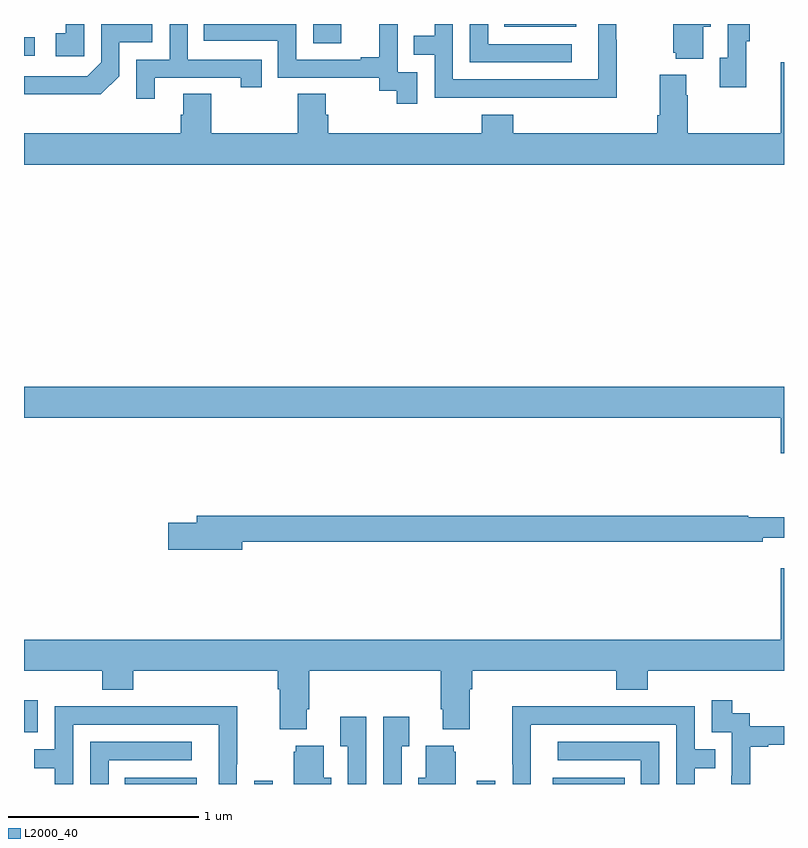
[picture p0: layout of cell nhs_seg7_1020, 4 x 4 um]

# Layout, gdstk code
import gdstk
lib = gdstk.Library(unit=1e-6, precision=1e-09)
def R(c, l, rs):  # rectangles x0, y0, x1, y1
    for r in rs: c.add(gdstk.rectangle(r[:2], r[2:], *l))
def P(c, l, *ps):  # polygons
    for p in ps: c.add(gdstk.Polygon(p, *l))
L2000_40 = (2000, 40)

nhs_seg7_1020 = lib.new_cell('nhs_seg7_1020')
R(nhs_seg7_1020, L2000_40, [(185.53,1020,185.908,1020.034), (186.213,1020,186.309,1020.016), (187.383,1020,187.479,1020.016), (187.784,1020,188.162,1020.034), (185,1020.273,185.073,1020.442), (185,1023.834,185.056,1023.93), (186.522,1023.9,186.67,1024), (187.528,1023.986,187.906,1024)])
P(nhs_seg7_1020, L2000_40, [(188.575,1023.986),(188.614,1023.986),(188.614,1024),(188.417,1024),(188.417,1023.849),(188.429,1023.849),(188.429,1023.818),(188.575,1023.818)],
  [(187.882,1023.894),(187.443,1023.894),(187.443,1024),(187.347,1024),(187.347,1023.798),(187.882,1023.798)],
  [(185.502,1023.726),(185.502,1023.903),(185.676,1023.903),(185.676,1024),(185.579,1024),(185.579,1023.999),(185.406,1023.999),(185.406,1023.798),(185.334,1023.726),(185,1023.726),(185,1023.629),(185.404,1023.629)],
  [(185.316,1024),(185.219,1024),(185.219,1023.951),(185.166,1023.951),(185.166,1023.831),(185.316,1023.831)],
  [(188.121,1023.917),(188.118,1023.917),(188.118,1024),(188.022,1024),(188.022,1023.708),(187.257,1023.708),(187.257,1024),(187.161,1024),(187.161,1023.938),(187.051,1023.938),(187.051,1023.837),(187.161,1023.837),(187.161,1023.612),(187.657,1023.612),(187.657,1023.611),(188.121,1023.611)],
  [(185.689,1023.717),(186.14,1023.717),(186.14,1023.666),(186.251,1023.666),(186.251,1023.813),(185.862,1023.813),(185.862,1024),(185.766,1024),(185.766,1023.813),(185.592,1023.813),(185.592,1023.606),(185.689,1023.606)],
  [(187.071,1023.747),(186.966,1023.747),(186.966,1023.977),(186.968,1023.977),(186.968,1024),(186.869,1024),(186.869,1023.826),(186.773,1023.826),(186.773,1023.813),(186.432,1023.813),(186.432,1024),(185.947,1024),(185.947,1023.912),(186.336,1023.912),(186.336,1023.717),(186.87,1023.717),(186.87,1023.649),(186.963,1023.649),(186.963,1023.579),(187.071,1023.579)],
  [(188.801,1023.91),(188.819,1023.91),(188.819,1024),(188.703,1024),(188.703,1023.822),(188.663,1023.822),(188.663,1023.666),(188.801,1023.666)],
  [(189,1023.799),(188.984,1023.799),(188.984,1023.424),(188.493,1023.424),(188.493,1023.626),(188.485,1023.626),(188.485,1023.733),(188.345,1023.733),(188.345,1023.52),(188.333,1023.52),(188.333,1023.424),(187.574,1023.424),(187.574,1023.523),(187.409,1023.523),(187.409,1023.424),(186.602,1023.424),(186.602,1023.522),(186.589,1023.522),(186.589,1023.632),(186.442,1023.632),(186.442,1023.424),(185.985,1023.424),(185.985,1023.632),(185.837,1023.632),(185.837,1023.522),(185.825,1023.522),(185.825,1023.424),(185,1023.424),(185,1023.26),(189,1023.26)],
  [(189,1022.092),(185,1022.092),(185,1021.928),(188.984,1021.928),(188.984,1021.74),(189,1021.74)],
  [(186.148,1021.276),(188.888,1021.276),(188.888,1021.295),(189,1021.295),(189,1021.405),(188.813,1021.405),(188.813,1021.412),(185.909,1021.412),(185.909,1021.376),(185.76,1021.376),(185.76,1021.234),(186.148,1021.234)],
  [(186.487,1020.394),(186.5,1020.394),(186.5,1020.596),(187.193,1020.596),(187.193,1020.394),(187.205,1020.394),(187.205,1020.287),(187.345,1020.287),(187.345,1020.5),(187.358,1020.5),(187.358,1020.596),(188.117,1020.596),(188.117,1020.497),(188.282,1020.497),(188.282,1020.596),(189,1020.596),(189,1021.135),(188.984,1021.135),(188.984,1020.76),(185,1020.76),(185,1020.596),(185.411,1020.596),(185.411,1020.497),(185.576,1020.497),(185.576,1020.596),(186.335,1020.596),(186.335,1020.5),(186.347,1020.5),(186.347,1020.287),(186.487,1020.287)],
  [(188.822,1020.195),(188.917,1020.195),(188.917,1020.207),(189,1020.207),(189,1020.303),(188.82,1020.303),(188.82,1020.372),(188.728,1020.372),(188.728,1020.442),(188.619,1020.442),(188.619,1020.273),(188.724,1020.273),(188.724,1020.044),(188.723,1020.044),(188.723,1020),(188.822,1020)],
  [(185.259,1020.312),(186.024,1020.312),(186.024,1020),(186.12,1020),(186.12,1020.103),(186.123,1020.103),(186.123,1020.41),(185.659,1020.41),(185.659,1020.408),(185.163,1020.408),(185.163,1020.183),(185.053,1020.183),(185.053,1020.082),(185.163,1020.082),(185.163,1020),(185.259,1020)],
  [(187.668,1020.312),(188.433,1020.312),(188.433,1020),(188.529,1020),(188.529,1020.082),(188.639,1020.082),(188.639,1020.183),(188.529,1020.183),(188.529,1020.408),(188.033,1020.408),(188.033,1020.41),(187.57,1020.41),(187.57,1020.103),(187.572,1020.103),(187.572,1020),(187.668,1020)],
  [(186.987,1020.199),(187.027,1020.199),(187.027,1020.355),(186.891,1020.355),(186.891,1020),(186.987,1020)],
  [(186.801,1020.355),(186.665,1020.355),(186.665,1020.199),(186.705,1020.199),(186.705,1020),(186.801,1020)],
  [(188.343,1020.222),(187.809,1020.222),(187.809,1020.126),(188.247,1020.126),(188.247,1020),(188.343,1020)],
  [(185.445,1020.126),(185.884,1020.126),(185.884,1020.222),(185.349,1020.222),(185.349,1020),(185.445,1020)],
  [(186.616,1020.034),(186.577,1020.034),(186.577,1020.202),(186.431,1020.202),(186.431,1020.171),(186.419,1020.171),(186.419,1020),(186.616,1020)],
  [(187.273,1020.171),(187.262,1020.171),(187.262,1020.202),(187.115,1020.202),(187.115,1020.034),(187.076,1020.034),(187.076,1020),(187.273,1020)])

lib.write_gds('nhs_seg7_1020.gds')
